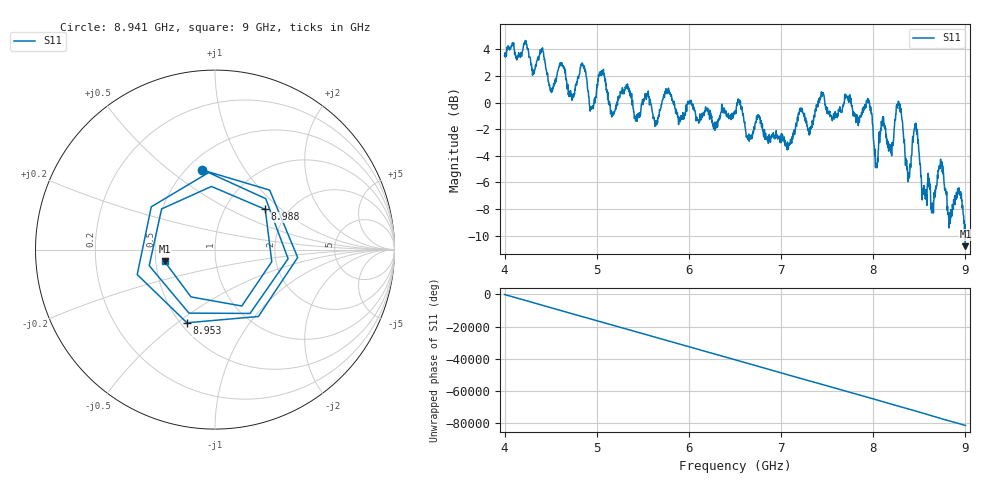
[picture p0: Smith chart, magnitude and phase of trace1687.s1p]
! Created with skrf 1.8.0 (http://scikit-rf.org).
# Hz S RI R 50.0
!freq ReS11 ImS11
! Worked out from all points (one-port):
!   1601 points, 4 GHz to 9 GHz, reference 50 ohm
!   lowest |S11| = -10.8 dB at 9 GHz (marker M1), VSWR 1.81, Z = 27.9 - j4 ohm
!   |S11| at or under -10 dB: 8.99576 GHz to end of sweep
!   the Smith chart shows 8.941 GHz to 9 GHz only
!   S11 on the Smith chart (normalised r, x): 8.941 GHz: 0.60, +0.66; 8.953 GHz: 0.54, -0.54; 8.988 GHz: 1.53, +0.79; 9 GHz: 0.56, -0.08
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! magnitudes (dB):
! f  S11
! 4 GHz  3.5
! 4.403 GHz  3.9
! 4.506 GHz  0.8
! 4.625 GHz  2.8
! 4.734 GHz  0.4
! 4.856 GHz  2.7
! 4.944 GHz  -0.3
! 5.047 GHz  2.3
! 5.172 GHz  -0.8
! 5.25 GHz  0.4
! 5.875 GHz  -0.7
! 6.5 GHz  -0.6
! 7.125 GHz  -2.8
! 7.75 GHz  0.1
! 7.95 GHz  0.2
! 8.034 GHz  -4.8
! 8.194 GHz  -3.7
! 8.278 GHz  0.1
! 8.375 GHz  -5.9
! 8.459 GHz  -2.0
! 8.556 GHz  -6.6
! 8.65 GHz  -7.7
! 8.731 GHz  -4.3
! 8.828 GHz  -8.3
! 8.941 GHz  -7.0
! 8.953 GHz  -7.2
! 8.988 GHz  -8.9
! 9 GHz  -10.8
